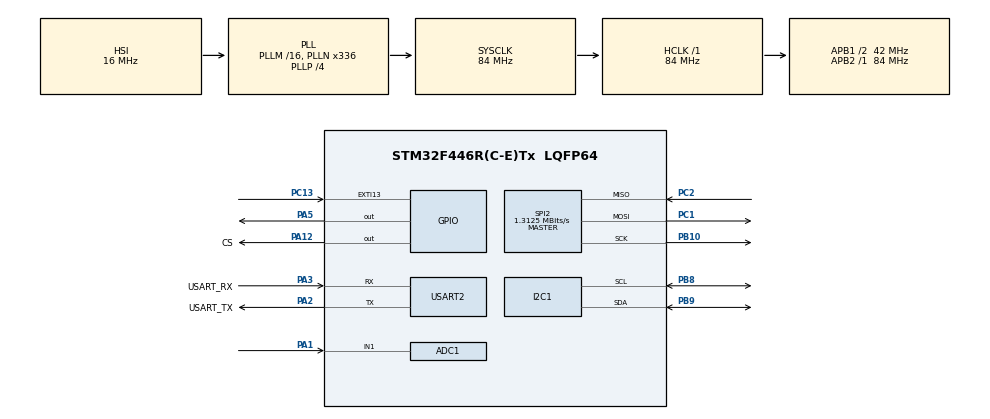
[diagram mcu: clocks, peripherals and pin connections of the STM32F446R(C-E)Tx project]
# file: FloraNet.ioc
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ADC1.Channel-0\#ChannelRegularConversion=ADC_CHANNEL_1
ADC1.NbrOfConversionFlag=1
ADC1.Rank-0\#ChannelRegularConversion=1
ADC1.SamplingTime-0\#ChannelRegularConversion=ADC_SAMPLETIME_3CYCLES
ADC1.master=1
FREERTOS.Tasks01=defaultTask,24,128,StartDefaultTask,Default,NULL,Dynamic,NULL,NULL
FREERTOS.configTOTAL_HEAP_SIZE=32768
Mcu.Family=STM32F4
Mcu.Name=STM32F446R(C-E)Tx
Mcu.Package=LQFP64
NUCLEO-F446RE.BUTTON=1
NUCLEO-F446RE.LD1=true
NVIC.EXTI15_10_IRQn=true\:5\:0\:false\:false\:true\:true\:false\:true\:true
NVIC.PriorityGroup=NVIC_PRIORITYGROUP_4
NVIC.TIM6_DAC_IRQn=true\:15\:0\:false\:false\:true\:false\:false\:true\:true
NVIC.TimeBase=TIM6_DAC_IRQn
NVIC.TimeBaseIP=TIM6
NVIC.USART2_IRQn=true\:5\:0\:false\:false\:true\:true\:true\:true\:true
PA1.Signal=ADCx_IN1
PA12.GPIO_Label=CS
PA12.GPIO_Speed=GPIO_SPEED_FREQ_VERY_HIGH
PA12.PinState=GPIO_PIN_SET
PA12.Signal=GPIO_Output
PA13.GPIO_Label=TMS
PA13.Mode=Trace_Asynchronous_SW
PA13.Signal=SYS_JTMS-SWDIO
PA14.GPIO_Label=TCK
PA14.Mode=Trace_Asynchronous_SW
PA14.Signal=SYS_JTCK-SWCLK
PA2.GPIO_Label=USART_TX
PA2.Mode=Asynchronous
PA2.Signal=USART2_TX
PA3.GPIO_Label=USART_RX
PA3.Mode=Asynchronous
PA3.Signal=USART2_RX
PA5.Signal=GPIO_Output
PB10.Mode=Full_Duplex_Master
PB10.Signal=SPI2_SCK
PB3.GPIO_Label=SWO
PB3.Mode=Trace_Asynchronous_SW
PB3.Signal=SYS_JTDO-SWO
PB8.Mode=I2C
PB8.Signal=I2C1_SCL
PB9.Mode=I2C
PB9.Signal=I2C1_SDA
PC1.Mode=Full_Duplex_Master
PC1.Signal=SPI2_MOSI
PC13.Signal=GPXTI13
PC14-OSC32_IN.Signal=RCC_OSC32_IN
PC15-OSC32_OUT.Signal=RCC_OSC32_OUT
PC2.Mode=Full_Duplex_Master
PC2.Signal=SPI2_MISO
PH0-OSC_IN.Mode=HSE-External-Clock-Source
PH0-OSC_IN.Signal=RCC_OSC_IN
PH1-OSC_OUT.Mode=HSE-External-Clock-Source
PH1-OSC_OUT.Signal=RCC_OSC_OUT
ProjectManager.HeapSize=0x200
ProjectManager.StackSize=0x400
ProjectManager.TargetToolchain=STM32CubeIDE
RCC.AHBFreq_Value=84000000
RCC.APB1CLKDivider=RCC_HCLK_DIV2
RCC.APB1Freq_Value=42000000
RCC.APB1TimFreq_Value=84000000
RCC.APB2Freq_Value=84000000
RCC.APB2TimFreq_Value=84000000
RCC.CortexFreq_Value=84000000
RCC.FLatency-AdvancedSettings=FLASH_LATENCY_2
RCC.HCLKFreq_Value=84000000
RCC.HSE_VALUE=8000000
RCC.HSI_VALUE=16000000
RCC.LSE_VALUE=32768
RCC.PLLN=336
RCC.PLLP=RCC_PLLP_DIV4
RCC.SYSCLKFreq_VALUE=84000000
RCC.SYSCLKSource=RCC_SYSCLKSOURCE_PLLCLK
RCC.USBFreq_Value=168000000
RCC.VCOOutputFreq_Value=336000000
SH.ADCx_IN1.0=ADC1_IN1,IN1
SPI2.BaudRatePrescaler=SPI_BAUDRATEPRESCALER_32
SPI2.CalculateBaudRate=1.3125 MBits/s
SPI2.Direction=SPI_DIRECTION_2LINES
SPI2.Mode=SPI_MODE_MASTER
SPI2.VirtualType=VM_MASTER
USART2.VirtualMode=VM_ASYNC
VP_FREERTOS_VS_CMSIS_V2.Mode=CMSIS_V2
VP_NUCLEO-F446RE_VS_BSP_COMMON.Mode=COMMON
VP_SYS_VS_tim6.Mode=TIM6
board=NUCLEO-F446RE

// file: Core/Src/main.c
/* USER CODE BEGIN Header */
/**
  ******************************************************************************
  * @file           : main.c
  * @brief          : Main program body
  ******************************************************************************
  * @attention
  *
  * Copyright (c) 2026 STMicroelectronics.
  * All rights reserved.
  *
  * This software is licensed under terms that can be found in the LICENSE file
  * in the root directory of this software component.
  * If no LICENSE file comes with this software, it is provided AS-IS.
  *
  ******************************************************************************
  */
/* USER CODE END Header */
#include "main.h"
#include "cmsis_os.h"

/* USER CODE BEGIN Includes */
#include <stdio.h>
#include "app.h"
#include "SEGGER_SYSVIEW.h"
/* USER CODE END Includes */

ADC_HandleTypeDef hadc1;

I2C_HandleTypeDef hi2c1;

SPI_HandleTypeDef hspi2;

UART_HandleTypeDef huart2;

/* Definitions for defaultTask */
osThreadId_t defaultTaskHandle;
const osThreadAttr_t defaultTask_attributes = {
  .name = "defaultTask",
  .stack_size = 128 * 4,
  .priority = (osPriority_t) osPriorityNormal,
};

void SystemClock_Config(void);
static void MX_GPIO_Init(void);
static void MX_I2C1_Init(void);
static void MX_SPI2_Init(void);
static void MX_USART2_UART_Init(void);
static void MX_ADC1_Init(void);
void StartDefaultTask(void *argument);

/* USER CODE BEGIN 0 */
#include <stdio.h>
int __io_putchar(int ch) {
    HAL_UART_Transmit(&huart2, (uint8_t *)&ch, 1, HAL_MAX_DELAY);
    return ch;
}
/* USER CODE END 0 */

int main(void)
{

  /* MCU Configuration--------------------------------------------------------*/

  /* Reset of all peripherals, Initializes the Flash interface and the Systick. */
  HAL_Init();

  /* Configure the system clock */
  SystemClock_Config();

  /* Initialize all configured peripherals */
  MX_GPIO_Init();
  MX_I2C1_Init();
  MX_SPI2_Init();
  MX_USART2_UART_Init();
  MX_ADC1_Init();
  /* USER CODE BEGIN 2 */

  printf("\r\n");
  printf("================================\r\n");
  printf(" FloraNet system starting\r\n");
  printf("================================\r\n");

  /* USER CODE END 2 */

  /* Init scheduler */
  osKernelInitialize();

  /* USER CODE BEGIN RTOS_INIT */
  SEGGER_SYSVIEW_Conf();
  /* USER CODE END RTOS_INIT */

  /* Create the thread(s) */
  /* creation of defaultTask */
  // defaultTaskHandle = osThreadNew(StartDefaultTask, NULL, &defaultTask_attributes);

  /* USER CODE BEGIN RTOS_THREADS */

  AppHardware_t hardware = {
      .i2c = &hi2c1,
      .spi = &hspi2,
      .adc = &hadc1,
      .uart = &huart2,
      .flash_cs_port = CS_GPIO_Port, /* or FLASH_CS_GPIO_Port */
      .flash_cs_pin = CS_Pin         /* or FLASH_CS_Pin */
  };

  if (!App_Init(&hardware)) Error_Handler();
  printf("[INIT] All services ready, free heap=%lu, min=%lu\r\n",
       (unsigned long)xPortGetFreeHeapSize(),
       (unsigned long)xPortGetMinimumEverFreeHeapSize());
  /* USER CODE END RTOS_THREADS */

  /* Initialize leds */
  BSP_LED_Init(LED2);

  /* Initialize USER push-button, will be used to trigger an interrupt each time it's pressed.*/
  BSP_PB_Init(BUTTON_USER, BUTTON_MODE_EXTI);

  /* Start scheduler */
  osKernelStart();

  /* We should never get here as control is now taken by the scheduler */

  /* Infinite loop */
  /* USER CODE BEGIN WHILE */
  Error_Handler();
    /* USER CODE END WHILE */

}

void SystemClock_Config(void)
{
  RCC_OscInitTypeDef RCC_OscInitStruct = {0};
  RCC_ClkInitTypeDef RCC_ClkInitStruct = {0};

  /** Configure the main internal regulator output voltage
  */
  __HAL_RCC_PWR_CLK_ENABLE();
  __HAL_PWR_VOLTAGESCALING_CONFIG(PWR_REGULATOR_VOLTAGE_SCALE3);

  /** Initializes the RCC Oscillators according to the specified parameters
  * in the RCC_OscInitTypeDef structure.
  */
  RCC_OscInitStruct.OscillatorType = RCC_OSCILLATORTYPE_HSI;
  RCC_OscInitStruct.HSIState = RCC_HSI_ON;
  RCC_OscInitStruct.HSICalibrationValue = RCC_HSICALIBRATION_DEFAULT;
  RCC_OscInitStruct.PLL.PLLState = RCC_PLL_ON;
  RCC_OscInitStruct.PLL.PLLSource = RCC_PLLSOURCE_HSI;
  RCC_OscInitStruct.PLL.PLLM = 16;
  RCC_OscInitStruct.PLL.PLLN = 336;
  RCC_OscInitStruct.PLL.PLLP = RCC_PLLP_DIV4;
  RCC_OscInitStruct.PLL.PLLQ = 2;
  RCC_OscInitStruct.PLL.PLLR = 2;
  if (HAL_RCC_OscConfig(&RCC_OscInitStruct) != HAL_OK)
  {
    Error_Handler();
  }

  /** Initializes the CPU, AHB and APB buses clocks
  */
  RCC_ClkInitStruct.ClockType = RCC_CLOCKTYPE_HCLK|RCC_CLOCKTYPE_SYSCLK
                              |RCC_CLOCKTYPE_PCLK1|RCC_CLOCKTYPE_PCLK2;
  RCC_ClkInitStruct.SYSCLKSource = RCC_SYSCLKSOURCE_PLLCLK;
  RCC_ClkInitStruct.AHBCLKDivider = RCC_SYSCLK_DIV1;
  RCC_ClkInitStruct.APB1CLKDivider = RCC_HCLK_DIV2;
  RCC_ClkInitStruct.APB2CLKDivider = RCC_HCLK_DIV1;

  if (HAL_RCC_ClockConfig(&RCC_ClkInitStruct, FLASH_LATENCY_2) != HAL_OK)
  {
    Error_Handler();
  }
}

static void MX_ADC1_Init(void)
{

  ADC_ChannelConfTypeDef sConfig = {0};

  /** Configure the global features of the ADC (Clock, Resolution, Data Alignment and number of conversion)
  */
  hadc1.Instance = ADC1;
  hadc1.Init.ClockPrescaler = ADC_CLOCK_SYNC_PCLK_DIV4;
  hadc1.Init.Resolution = ADC_RESOLUTION_12B;
  hadc1.Init.ScanConvMode = DISABLE;
  hadc1.Init.ContinuousConvMode = DISABLE;
  hadc1.Init.DiscontinuousConvMode = DISABLE;
  hadc1.Init.ExternalTrigConvEdge = ADC_EXTERNALTRIGCONVEDGE_NONE;
  hadc1.Init.ExternalTrigConv = ADC_SOFTWARE_START;
  hadc1.Init.DataAlign = ADC_DATAALIGN_RIGHT;
  hadc1.Init.NbrOfConversion = 1;
  hadc1.Init.DMAContinuousRequests = DISABLE;
  hadc1.Init.EOCSelection = ADC_EOC_SINGLE_CONV;
  if (HAL_ADC_Init(&hadc1) != HAL_OK)
  {
    Error_Handler();
  }

  /** Configure for the selected ADC regular channel its corresponding rank in the sequencer and its sample time.
  */
  sConfig.Channel = ADC_CHANNEL_1;
  sConfig.Rank = 1;
  sConfig.SamplingTime = ADC_SAMPLETIME_3CYCLES;
  if (HAL_ADC_ConfigChannel(&hadc1, &sConfig) != HAL_OK)
  {
    Error_Handler();
  }

}

static void MX_I2C1_Init(void)
{

  hi2c1.Instance = I2C1;
  hi2c1.Init.ClockSpeed = 100000;
  hi2c1.Init.DutyCycle = I2C_DUTYCYCLE_2;
  hi2c1.Init.OwnAddress1 = 0;
  hi2c1.Init.AddressingMode = I2C_ADDRESSINGMODE_7BIT;
  hi2c1.Init.DualAddressMode = I2C_DUALADDRESS_DISABLE;
  hi2c1.Init.OwnAddress2 = 0;
  hi2c1.Init.GeneralCallMode = I2C_GENERALCALL_DISABLE;
  hi2c1.Init.NoStretchMode = I2C_NOSTRETCH_DISABLE;
  if (HAL_I2C_Init(&hi2c1) != HAL_OK)
  {
    Error_Handler();
  }

}

static void MX_SPI2_Init(void)
{

  /* SPI2 parameter configuration*/
  hspi2.Instance = SPI2;
  hspi2.Init.Mode = SPI_MODE_MASTER;
  hspi2.Init.Direction = SPI_DIRECTION_2LINES;
  hspi2.Init.DataSize = SPI_DATASIZE_8BIT;
  hspi2.Init.CLKPolarity = SPI_POLARITY_LOW;
  hspi2.Init.CLKPhase = SPI_PHASE_1EDGE;
  hspi2.Init.NSS = SPI_NSS_SOFT;
  hspi2.Init.BaudRatePrescaler = SPI_BAUDRATEPRESCALER_32;
  hspi2.Init.FirstBit = SPI_FIRSTBIT_MSB;
  hspi2.Init.TIMode = SPI_TIMODE_DISABLE;
  hspi2.Init.CRCCalculation = SPI_CRCCALCULATION_DISABLE;
  hspi2.Init.CRCPolynomial = 10;
  if (HAL_SPI_Init(&hspi2) != HAL_OK)
  {
    Error_Handler();
  }

}

static void MX_USART2_UART_Init(void)
{

  huart2.Instance = USART2;
  huart2.Init.BaudRate = 115200;
  huart2.Init.WordLength = UART_WORDLENGTH_8B;
  huart2.Init.StopBits = UART_STOPBITS_1;
  huart2.Init.Parity = UART_PARITY_NONE;
  huart2.Init.Mode = UART_MODE_TX_RX;
  huart2.Init.HwFlowCtl = UART_HWCONTROL_NONE;
  huart2.Init.OverSampling = UART_OVERSAMPLING_16;
  if (HAL_UART_Init(&huart2) != HAL_OK)
  {
    Error_Handler();
  }

}

static void MX_GPIO_Init(void)
{
  GPIO_InitTypeDef GPIO_InitStruct = {0};

  /* GPIO Ports Clock Enable */
  __HAL_RCC_GPIOC_CLK_ENABLE();
  __HAL_RCC_GPIOH_CLK_ENABLE();
  __HAL_RCC_GPIOA_CLK_ENABLE();
  __HAL_RCC_GPIOB_CLK_ENABLE();

  /*Configure GPIO pin Output Level */
  HAL_GPIO_WritePin(CS_GPIO_Port, CS_Pin, GPIO_PIN_SET);

  /*Configure GPIO pin : CS_Pin */
  GPIO_InitStruct.Pin = CS_Pin;
  GPIO_InitStruct.Mode = GPIO_MODE_OUTPUT_PP;
  GPIO_InitStruct.Pull = GPIO_NOPULL;
  GPIO_InitStruct.Speed = GPIO_SPEED_FREQ_VERY_HIGH;
  HAL_GPIO_Init(CS_GPIO_Port, &GPIO_InitStruct);

}

/* USER CODE BEGIN 4 */
void HAL_UART_RxCpltCallback(UART_HandleTypeDef *huart)
{
    App_UartRxCompleteISR(huart);
}
/* USER CODE END 4 */

void StartDefaultTask(void *argument)
{
  for(;;)
  {
    osDelay(1);
  }
}

void HAL_TIM_PeriodElapsedCallback(TIM_HandleTypeDef *htim)
{
  if (htim->Instance == TIM6)
  {
    HAL_IncTick();
  }
}

void Error_Handler(void)
{
  __disable_irq();
  while (1)
  {
  }
}
